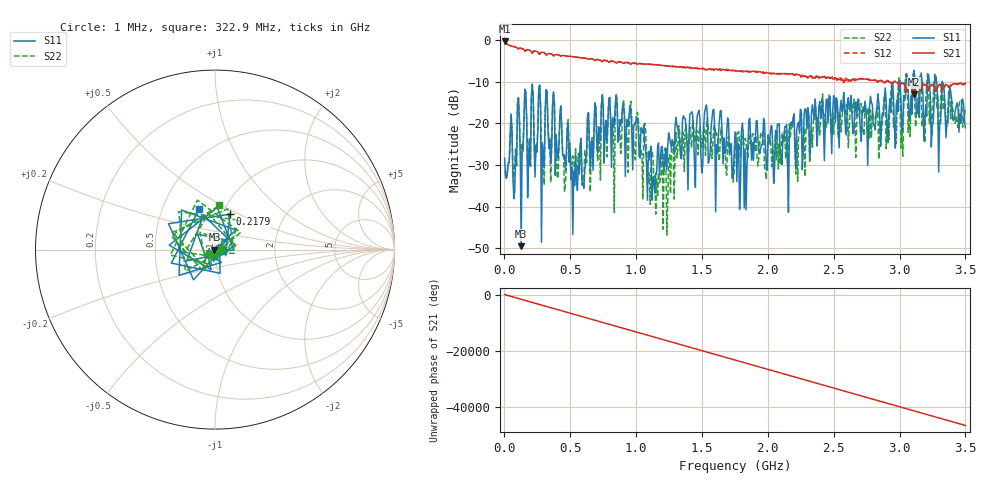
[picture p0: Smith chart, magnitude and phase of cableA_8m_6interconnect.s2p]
# GHZ S RI R 50.000000000000
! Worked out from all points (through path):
!   501 points, 1 MHz to 3.5 GHz, reference 50 ohm
!   highest |S21| = -0.30 dB at 1 MHz (marker M1); lowest = -13.0 dB at 3.108 GHz (marker M2)
!   lowest |S11| = -49.5 dB at 127 MHz (marker M3), VSWR 1.01, Z = 49.7 + j0.0528 ohm
!   |S11| at or under -10 dB: start of sweep to 2.996 GHz; 3.004 GHz to 3.049 GHz (45.8 MHz wide, 1.51 % of centre); 3.325 GHz to end of sweep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
!   |S22| runs from -46.9 to -8.1 dB; largest |S21 - S12| = 0.042
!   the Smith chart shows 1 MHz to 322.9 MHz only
!   S11 on the Smith chart (normalised r, x): 1 MHz: 1.08, -0.01; 217.9 MHz: 1.08, +0.45; 322.9 MHz: 0.76, +0.36
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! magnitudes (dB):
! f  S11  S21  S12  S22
! 1 MHz  -28.4  -0.3  -0.1  -31.8
! 77.98 MHz  -36.3  -1.6  -1.6  -30.0
! 98.97 MHz  -15.4  -2.0  -2.0  -15.4
! 127 MHz  -49.5  -2.0  -2.0  -30.5
! 155 MHz  -11.8  -2.7  -2.7  -11.8
! 182.9 MHz  -28.8  -2.4  -2.4  -27.5
! 217.9 MHz  -13.4  -2.8  -2.8  -13.4
! 294.9 MHz  -28.1  -3.0  -3.0  -28.5
! 322.9 MHz  -12.3  -3.6  -3.5  -12.1
! 483.9 MHz  -20.0  -4.0  -3.9  -19.1
! 518.9 MHz  -46.7  -4.0  -4.0  -27.9
! 588.8 MHz  -33.9  -4.3  -4.3  -34.9
! 854.8 MHz  -15.0  -5.5  -5.4  -14.2
! 1.17 GHz  -24.7  -6.0  -6.0  -31.9
! 1.422 GHz  -17.2  -6.8  -6.7  -25.9
! 1.499 GHz  -31.9  -6.8  -6.9  -25.7
! 1.527 GHz  -16.4  -7.0  -7.2  -27.7
! 1.75 GHz  -22.1  -7.3  -7.4  -27.1
! 2.338 GHz  -15.5  -8.8  -9.3  -25.7
! 2.919 GHz  -17.7  -9.9  -10.1  -24.0
! 3.108 GHz  -7.3  -13.0  -13.2  -8.1
! 3.5 GHz  -21.1  -10.4  -10.8  -16.7
